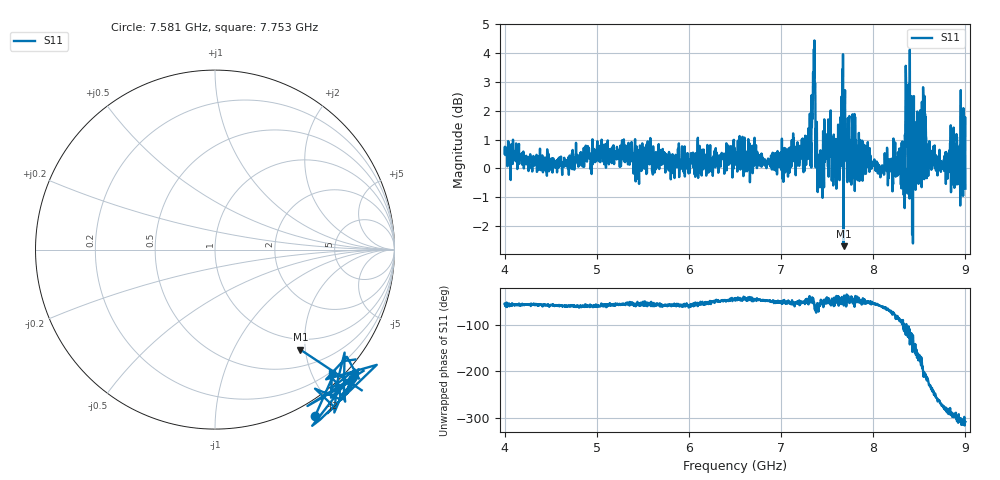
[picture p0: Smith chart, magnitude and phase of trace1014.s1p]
! Created with skrf 1.8.0 (http://scikit-rf.org).
# Hz S RI R 50.0
!freq ReS11 ImS11
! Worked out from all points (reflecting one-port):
!   1601 points, 4 GHz to 9 GHz, reference 50 ohm
!   lowest |S11| = -2.7 dB at 7.678 GHz (marker M1), VSWR 6.50, Z = 39.5 - j95.3 ohm
!   phase of S11 starts at -55 deg and turns -254 deg over the sweep
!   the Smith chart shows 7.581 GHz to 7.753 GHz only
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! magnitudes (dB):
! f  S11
! 4 GHz  0.5
! 4.625 GHz  -0.2
! 5.25 GHz  0.1
! 5.875 GHz  0.1
! 6.5 GHz  0.1
! 7.038 GHz  0.2
! 7.125 GHz  0.4
! 7.303 GHz  0.9
! 7.356 GHz  4.1
! 7.369 GHz  3.0
! 7.4 GHz  0.3
! 7.428 GHz  0.6
! 7.512 GHz  1.7
! 7.609 GHz  0.6
! 7.647 GHz  1.7
! 7.678 GHz  -2.7
! 7.703 GHz  0.3
! 7.75 GHz  0.4
! 8.316 GHz  0.9
! 8.334 GHz  0.2
! 8.375 GHz  0.0
! 8.447 GHz  1.6
! 8.459 GHz  -0.7
! 8.553 GHz  -0.4
! 8.606 GHz  0.0
! 8.781 GHz  0.2
! 8.972 GHz  0.1
! 9 GHz  -0.7
